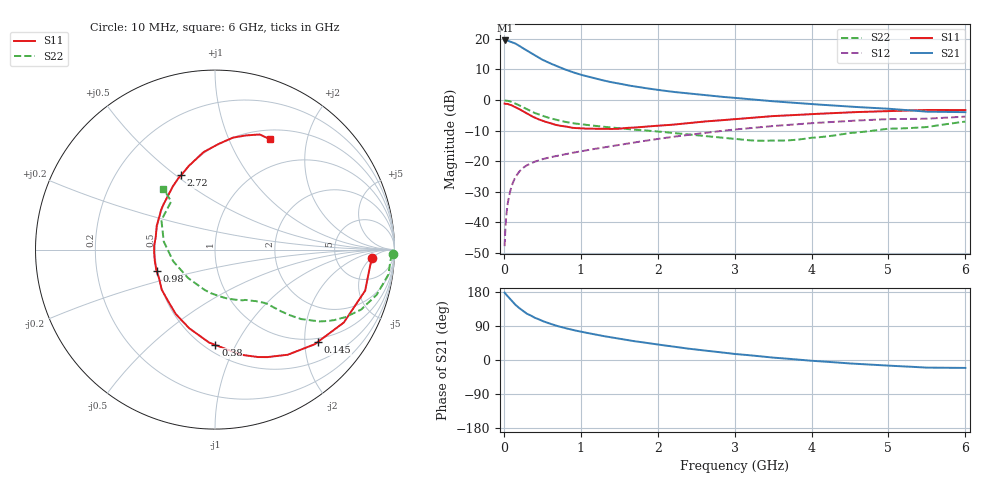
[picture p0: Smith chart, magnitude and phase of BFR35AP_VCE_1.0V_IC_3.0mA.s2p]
! Infineon Technologies  Discrete & RF Semiconductors
! BFR35AP
! VCE =  1.0 V,  IC =  3.0 mA
! Common Emitter S-Parameters:  Nov 2015
# GHz  S  MA  R  50
!  f  S11  S21  S12  S22
! GHz  MAG  ANG  MAG  ANG  MAG  ANG  MAG  ANG
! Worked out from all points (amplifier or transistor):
!   210 points, 10 MHz to 6 GHz, reference 50 ohm
!   highest |S21| = 19.5 dB at 20 MHz (marker M1)
!   |S21| within 3 dB of that: start of sweep to 280.6 MHz
!   unconditionally stable (mu >= 1): 895.3 MHz to end of sweep
!   at 185 MHz: K = 0.29, MSG = 20.9 dB, |S12| = -23.9 dB
!   at 1.52 GHz: K = 1.19, MAG = 7.3 dB, |S12| = -14.6 dB
!   at 6 GHz: K = 1.04, MAG = -0.5 dB, |S12| = -5.4 dB
!   S11 on the Smith chart (normalised r, x): 10 MHz: 13, -5; 145 MHz: 0.91, -2.30; 380 MHz: 0.56, -0.83; 980 MHz: 0.50, -0.14; 2.72 GHz: 0.50, +0.52; 6 GHz: 0.61, +1.43
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0.01  0.8761 -3.0  9.306 177.9  0.0041 87.7  0.9928 -1.5
0.02  0.8686 -6.2  9.41 175.0  0.0079 89.2  0.9802 -3.2
0.05  0.8672 -15.3  9.357 168.1  0.0202 81.5  0.9759 -8.2
0.1  0.8248 -29.5  8.876 157.1  0.0389 73.9  0.9355 -15.6
0.145  0.7697 -42.0  8.418 146.9  0.0532 67.2  0.8852 -21.6
0.2  0.7124 -55.3  7.694 137.1  0.0676 61.3  0.8198 -27.3
0.24  0.6663 -64.0  7.14 130.8  0.0758 57.5  0.7732 -30.5
0.3  0.6021 -76.4  6.456 122.1  0.086 53.5  0.7063 -34.5
0.38  0.5311 -89.8  5.611 114.1  0.0956 49.7  0.634 -37.9
0.4  0.5186 -93.7  5.42 111.7  0.0981 48.9  0.6163 -38.9
0.5  0.4613 -108.1  4.568 102.9  0.1078 46.4  0.5529 -41.3
0.6  0.4207 -121.2  3.988 95.7  0.1161 45.0  0.5057 -43.0
0.8  0.3712 -143.2  3.147 84.0  0.1302 44.6  0.4396 -45.2
0.98  0.3462 -159.5  2.643 75.7  0.1438 44.7  0.4059 -47.1
1.02  0.3443 -163.0  2.557 74.0  0.1468 44.7  0.4002 -47.6
1.4  0.3368 169.5  1.954 59.5  0.1763 45.2  0.3566 -53.4
2.02  0.382 138.6  1.455 40.3  0.2333 43.9  0.3048 -66.7
2.72  0.4564 114.4  1.166 22.6  0.302 38.9  0.2502 -90.8
3.1  0.4985 105.1  1.058 14.3  0.3389 34.7  0.2248 -109.7
4.1  0.5974 86.4  0.843 -3.3  0.4262 22.6  0.2472 -170.0
5.1  0.6648 73.5  0.706 -15.9  0.4891 9.0  0.3421 147.3
6  0.6865 63.7  0.634 -20.9  0.5358 -0.7  0.4446 130.3
